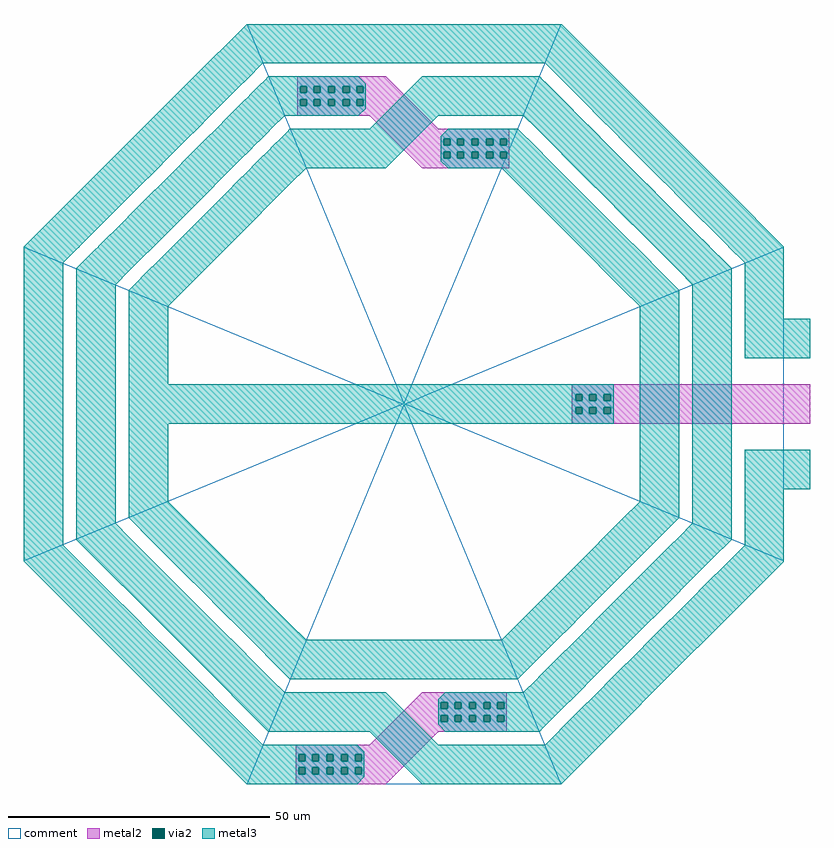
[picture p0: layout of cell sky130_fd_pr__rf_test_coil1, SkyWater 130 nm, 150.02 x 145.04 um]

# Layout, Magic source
magic
tech sky130A
magscale 1 2
<< metal2 >>
rect -4079 12127 -689 12502
rect -4079 11871 -3966 12127
rect -3710 11871 -3442 12127
rect -3186 11871 -2888 12127
rect -2632 11871 -2334 12127
rect -2078 11871 -1810 12127
rect -1554 11871 -689 12127
rect -4079 11633 -689 11871
rect -4079 11377 -3966 11633
rect -3710 11377 -3442 11633
rect -3186 11377 -2888 11633
rect -2632 11377 -2334 11633
rect -2078 11377 -1810 11633
rect -1554 11377 -689 11633
rect -4079 11002 -689 11377
tri -689 11002 811 12502 sw
tri -1311 9000 691 11002 ne
rect 691 10500 811 11002
tri 811 10500 1313 11002 sw
rect 691 10124 4024 10500
rect 691 9868 1511 10124
rect 1767 9868 2035 10124
rect 2291 9868 2589 10124
rect 2845 9868 3143 10124
rect 3399 9868 3667 10124
rect 3923 9868 4024 10124
rect 691 9630 4024 9868
rect 691 9374 1511 9630
rect 1767 9374 2035 9630
rect 2291 9374 2589 9630
rect 2845 9374 3143 9630
rect 3399 9374 3667 9630
rect 3923 9374 4024 9630
rect 691 9000 4024 9374
rect 6408 375 15500 750
rect 6408 119 6552 375
rect 6808 119 7076 375
rect 7332 119 7630 375
rect 7886 119 15500 375
rect 6408 -119 15500 119
rect 6408 -375 6552 -119
rect 6808 -375 7076 -119
rect 7332 -375 7630 -119
rect 7886 -375 15500 -119
rect 6408 -750 15500 -375
tri -1311 -13004 691 -11002 se
rect 691 -11377 3925 -11002
rect 691 -11633 1410 -11377
rect 1666 -11633 1934 -11377
rect 2190 -11633 2488 -11377
rect 2744 -11633 3042 -11377
rect 3298 -11633 3566 -11377
rect 3822 -11633 3925 -11377
rect 691 -11871 3925 -11633
rect 691 -12127 1410 -11871
rect 1666 -12127 1934 -11871
rect 2190 -12127 2488 -11871
rect 2744 -12127 3042 -11871
rect 3298 -12127 3566 -11871
rect 3822 -12127 3925 -11871
rect 691 -12502 3925 -12127
rect 691 -13004 811 -12502
tri 811 -13004 1313 -12502 nw
rect -4123 -13377 -689 -13004
rect -4123 -13633 -4024 -13377
rect -3768 -13633 -3500 -13377
rect -3244 -13633 -2946 -13377
rect -2690 -13633 -2392 -13377
rect -2136 -13633 -1868 -13377
rect -1612 -13633 -689 -13377
rect -4123 -13871 -689 -13633
rect -4123 -14127 -4024 -13871
rect -3768 -14127 -3500 -13871
rect -3244 -14127 -2946 -13871
rect -2690 -14127 -2392 -13871
rect -2136 -14127 -1868 -13871
rect -1612 -14127 -689 -13871
rect -4123 -14504 -689 -14127
tri -689 -14504 811 -13004 nw
<< via2 >>
rect -3966 11871 -3710 12127
rect -3442 11871 -3186 12127
rect -2888 11871 -2632 12127
rect -2334 11871 -2078 12127
rect -1810 11871 -1554 12127
rect -3966 11377 -3710 11633
rect -3442 11377 -3186 11633
rect -2888 11377 -2632 11633
rect -2334 11377 -2078 11633
rect -1810 11377 -1554 11633
rect 1511 9868 1767 10124
rect 2035 9868 2291 10124
rect 2589 9868 2845 10124
rect 3143 9868 3399 10124
rect 3667 9868 3923 10124
rect 1511 9374 1767 9630
rect 2035 9374 2291 9630
rect 2589 9374 2845 9630
rect 3143 9374 3399 9630
rect 3667 9374 3923 9630
rect 6552 119 6808 375
rect 7076 119 7332 375
rect 7630 119 7886 375
rect 6552 -375 6808 -119
rect 7076 -375 7332 -119
rect 7630 -375 7886 -119
rect 1410 -11633 1666 -11377
rect 1934 -11633 2190 -11377
rect 2488 -11633 2744 -11377
rect 3042 -11633 3298 -11377
rect 3566 -11633 3822 -11377
rect 1410 -12127 1666 -11871
rect 1934 -12127 2190 -11871
rect 2488 -12127 2744 -11871
rect 3042 -12127 3298 -11871
rect 3566 -12127 3822 -11871
rect -4024 -13633 -3768 -13377
rect -3500 -13633 -3244 -13377
rect -2946 -13633 -2690 -13377
rect -2392 -13633 -2136 -13377
rect -1868 -13633 -1612 -13377
rect -4024 -14127 -3768 -13871
rect -3500 -14127 -3244 -13871
rect -2946 -14127 -2690 -13871
rect -2392 -14127 -2136 -13871
rect -1868 -14127 -1612 -13871
<< metal3 >>
tri -8131 12382 -6009 14504 se
rect -6009 14497 6009 14504
tri 6009 14497 6016 14504 sw
rect -6009 13004 6016 14497
tri -6009 12382 -5387 13004 nw
tri 5387 12502 5889 13004 ne
rect 5889 12502 6016 13004
tri -5300 12382 -5180 12502 se
rect -5180 12382 -1739 12502
tri -8386 12127 -8131 12382 se
rect -8131 12127 -6264 12382
tri -6264 12127 -6009 12382 nw
tri -5555 12127 -5300 12382 se
rect -5300 12228 -1739 12382
tri -1739 12228 -1465 12502 sw
tri 415 12228 689 12502 se
rect 689 12375 5180 12502
tri 5180 12375 5307 12502 sw
tri 5889 12375 6016 12502 ne
tri 6016 12375 8138 14497 sw
rect 689 12255 5307 12375
tri 5307 12255 5427 12375 sw
tri 6016 12255 6136 12375 ne
rect 6136 12255 8138 12375
rect 689 12228 5427 12255
rect -5300 12127 -1453 12228
tri -8642 11871 -8386 12127 se
rect -8386 11871 -6520 12127
tri -6520 11871 -6264 12127 nw
tri -5811 11871 -5555 12127 se
rect -5555 11871 -3966 12127
rect -3710 11871 -3442 12127
rect -3186 11871 -2888 12127
rect -2632 11871 -2334 12127
rect -2078 11871 -1810 12127
rect -1554 11871 -1453 12127
tri -8880 11633 -8642 11871 se
rect -8642 11673 -6718 11871
tri -6718 11673 -6520 11871 nw
tri -6009 11673 -5811 11871 se
rect -5811 11673 -1453 11871
rect -8642 11633 -6758 11673
tri -6758 11633 -6718 11673 nw
tri -6049 11633 -6009 11673 se
rect -6009 11633 -1453 11673
tri -9136 11377 -8880 11633 se
rect -8880 11377 -7014 11633
tri -7014 11377 -6758 11633 nw
tri -6305 11377 -6049 11633 se
rect -6049 11377 -3966 11633
rect -3710 11377 -3442 11633
rect -3186 11377 -2888 11633
rect -2632 11377 -2334 11633
rect -2078 11377 -1810 11633
rect -1554 11377 -1453 11633
tri -10253 10260 -9136 11377 se
rect -9136 11089 -7302 11377
tri -7302 11089 -7014 11377 nw
tri -6593 11089 -6305 11377 se
rect -6305 11276 -1453 11377
tri -537 11276 415 12228 se
rect 415 11546 5427 12228
tri 5427 11546 6136 12255 sw
tri 6136 11546 6845 12255 ne
rect 6845 11546 8138 12255
rect 415 11276 6136 11546
rect -6305 11089 -1739 11276
rect -9136 10380 -8011 11089
tri -8011 10380 -7302 11089 nw
tri -7302 10380 -6593 11089 se
rect -6593 11002 -1739 11089
tri -1739 11002 -1465 11276 nw
tri -811 11002 -537 11276 se
rect -537 11002 6136 11276
rect -6593 10500 -5060 11002
tri -5060 10500 -4558 11002 nw
tri -1313 10500 -811 11002 se
rect -811 10500 809 11002
tri 809 10500 1311 11002 nw
tri 4558 10500 5060 11002 ne
rect 5060 10837 6136 11002
tri 6136 10837 6845 11546 sw
tri 6845 10837 7554 11546 ne
rect 7554 10837 8138 11546
rect 5060 10500 6845 10837
tri 6845 10500 7182 10837 sw
tri 7554 10500 7891 10837 ne
rect 7891 10500 8138 10837
rect -6593 10380 -5180 10500
tri -5180 10380 -5060 10500 nw
tri -4471 10380 -4351 10500 se
rect -4351 10380 433 10500
rect -9136 10260 -8131 10380
tri -8131 10260 -8011 10380 nw
tri -7422 10260 -7302 10380 se
rect -7302 10260 -5436 10380
tri -10389 10124 -10253 10260 se
rect -10253 10124 -8267 10260
tri -8267 10124 -8131 10260 nw
tri -7558 10124 -7422 10260 se
rect -7422 10124 -5436 10260
tri -5436 10124 -5180 10380 nw
tri -4727 10124 -4471 10380 se
rect -4471 10124 433 10380
tri 433 10124 809 10500 nw
tri 1410 10226 1684 10500 se
rect 1684 10226 4351 10500
rect 1410 10124 4351 10226
tri -10645 9868 -10389 10124 se
rect -10389 9868 -8523 10124
tri -8523 9868 -8267 10124 nw
tri -7814 9868 -7558 10124 se
rect -7558 9868 -5692 10124
tri -5692 9868 -5436 10124 nw
tri -4983 9868 -4727 10124 se
rect -4727 9868 177 10124
tri 177 9868 433 10124 nw
rect 1410 9868 1511 10124
rect 1767 9868 2035 10124
rect 2291 9868 2589 10124
rect 2845 9868 3143 10124
rect 3399 9868 3667 10124
rect 3923 9868 4351 10124
tri -10883 9630 -10645 9868 se
rect -10645 9630 -8761 9868
tri -8761 9630 -8523 9868 nw
tri -8052 9630 -7814 9868 se
rect -7814 9671 -5889 9868
tri -5889 9671 -5692 9868 nw
tri -5180 9671 -4983 9868 se
rect -4983 9671 -61 9868
rect -7814 9630 -5930 9671
tri -5930 9630 -5889 9671 nw
tri -5221 9630 -5180 9671 se
rect -5180 9630 -61 9671
tri -61 9630 177 9868 nw
rect 1410 9791 4351 9868
tri 4351 9791 5060 10500 sw
tri 5060 9791 5769 10500 ne
rect 5769 10253 7182 10500
tri 7182 10253 7429 10500 sw
tri 7891 10253 8138 10500 ne
tri 8138 10253 10260 12375 sw
rect 5769 10133 7429 10253
tri 7429 10133 7549 10253 sw
tri 8138 10133 8258 10253 ne
rect 8258 10133 10260 10253
rect 5769 9791 7549 10133
rect 1410 9630 5060 9791
tri -11139 9374 -10883 9630 se
rect -10883 9551 -8840 9630
tri -8840 9551 -8761 9630 nw
tri -8131 9551 -8052 9630 se
rect -8052 9551 -6186 9630
rect -10883 9374 -9017 9551
tri -9017 9374 -8840 9551 nw
tri -8308 9374 -8131 9551 se
rect -8131 9374 -6186 9551
tri -6186 9374 -5930 9630 nw
tri -5477 9374 -5221 9630 se
rect -5221 9374 -317 9630
tri -317 9374 -61 9630 nw
rect 1410 9374 1511 9630
rect 1767 9374 2035 9630
rect 2291 9374 2589 9630
rect 2845 9374 3143 9630
rect 3399 9374 3667 9630
rect 3923 9374 5060 9630
tri -12375 8138 -11139 9374 se
rect -11139 8967 -9424 9374
tri -9424 8967 -9017 9374 nw
tri -8715 8967 -8308 9374 se
rect -8308 9087 -6473 9374
tri -6473 9087 -6186 9374 nw
tri -5764 9087 -5477 9374 se
rect -5477 9087 -691 9374
rect -8308 8967 -7182 9087
rect -11139 8258 -10133 8967
tri -10133 8258 -9424 8967 nw
tri -9424 8258 -8715 8967 se
rect -8715 8378 -7182 8967
tri -7182 8378 -6473 9087 nw
tri -5851 9000 -5764 9087 se
rect -5764 9000 -691 9087
tri -691 9000 -317 9374 nw
rect 1410 9304 5060 9374
tri 5060 9304 5547 9791 sw
tri 5769 9304 6256 9791 ne
rect 6256 9424 7549 9791
tri 7549 9424 8258 10133 sw
tri 8258 9424 8967 10133 ne
rect 8967 9424 10260 10133
rect 6256 9304 8258 9424
rect 1410 9274 5547 9304
tri 1410 9000 1684 9274 ne
rect 1684 9000 5547 9274
tri -6473 8378 -5851 9000 se
rect -5851 8378 -4351 9000
tri -4351 8378 -3729 9000 nw
tri 3729 8378 4351 9000 ne
rect 4351 8595 5547 9000
tri 5547 8595 6256 9304 sw
tri 6256 8595 6965 9304 ne
rect 6965 8715 8258 9304
tri 8258 8715 8967 9424 sw
tri 8967 8715 9676 9424 ne
rect 9676 8715 10260 9424
rect 6965 8595 8967 8715
rect 4351 8378 6256 8595
rect -8715 8258 -7302 8378
tri -7302 8258 -7182 8378 nw
tri -6593 8258 -6473 8378 se
rect -11139 8138 -10253 8258
tri -10253 8138 -10133 8258 nw
tri -9544 8138 -9424 8258 se
rect -9424 8138 -8011 8258
tri -14497 6016 -12375 8138 se
rect -12375 7429 -10962 8138
tri -10962 7429 -10253 8138 nw
tri -10253 7429 -9544 8138 se
rect -9544 7549 -8011 8138
tri -8011 7549 -7302 8258 nw
tri -7302 7549 -6593 8258 se
rect -6593 7549 -6473 8258
rect -9544 7429 -8595 7549
rect -12375 6845 -11546 7429
tri -11546 6845 -10962 7429 nw
tri -10837 6845 -10253 7429 se
rect -10253 6965 -8595 7429
tri -8595 6965 -8011 7549 nw
tri -7886 6965 -7302 7549 se
rect -7302 6965 -6473 7549
rect -10253 6845 -9304 6965
rect -12375 6136 -12255 6845
tri -12255 6136 -11546 6845 nw
tri -11546 6136 -10837 6845 se
rect -10837 6256 -9304 6845
tri -9304 6256 -8595 6965 nw
tri -8595 6256 -7886 6965 se
rect -7886 6256 -6473 6965
tri -6473 6256 -4351 8378 nw
tri 4351 6473 6256 8378 ne
tri 6256 7886 6965 8595 sw
tri 6965 7886 7674 8595 ne
rect 7674 8138 8967 8595
tri 8967 8138 9544 8715 sw
tri 9676 8138 10253 8715 ne
rect 10253 8138 10260 8715
rect 7674 8131 9544 8138
tri 9544 8131 9551 8138 sw
tri 10253 8131 10260 8138 ne
tri 10260 8131 12382 10253 sw
rect 7674 8011 9551 8131
tri 9551 8011 9671 8131 sw
tri 10260 8011 10380 8131 ne
rect 10380 8011 12382 8131
rect 7674 7886 9671 8011
rect 6256 7182 6965 7886
tri 6965 7182 7669 7886 sw
tri 7674 7182 8378 7886 ne
rect 8378 7302 9671 7886
tri 9671 7302 10380 8011 sw
tri 10380 7302 11089 8011 ne
rect 11089 7302 12382 8011
rect 8378 7182 10380 7302
rect 6256 6473 7669 7182
tri 7669 6473 8378 7182 sw
tri 8378 6473 9087 7182 ne
rect 9087 6593 10380 7182
tri 10380 6593 11089 7302 sw
tri 11089 6593 11798 7302 ne
rect 11798 6593 12382 7302
rect 9087 6473 11089 6593
tri 6256 6256 6473 6473 ne
rect 6473 6256 8378 6473
rect -10837 6136 -9424 6256
tri -9424 6136 -9304 6256 nw
tri -8715 6136 -8595 6256 se
rect -8595 6136 -8378 6256
tri -12375 6016 -12255 6136 nw
tri -11666 6016 -11546 6136 se
rect -11546 6016 -10133 6136
tri -14504 6009 -14497 6016 se
rect -14497 6009 -12382 6016
tri -12382 6009 -12375 6016 nw
tri -11673 6009 -11666 6016 se
rect -11666 6009 -10133 6016
rect -14504 5889 -12502 6009
tri -12502 5889 -12382 6009 nw
tri -11793 5889 -11673 6009 se
rect -11673 5889 -10133 6009
rect -14504 -5889 -13004 5889
tri -13004 5387 -12502 5889 nw
tri -12295 5387 -11793 5889 se
rect -11793 5427 -10133 5889
tri -10133 5427 -9424 6136 nw
tri -9424 5427 -8715 6136 se
rect -8715 5427 -8378 6136
rect -11793 5387 -10500 5427
tri -12502 5180 -12295 5387 se
rect -12295 5180 -10500 5387
rect -12502 5060 -10500 5180
tri -10500 5060 -10133 5427 nw
tri -9791 5060 -9424 5427 se
rect -9424 5060 -8378 5427
rect -12502 -5060 -11002 5060
tri -11002 4558 -10500 5060 nw
tri -10293 4558 -9791 5060 se
rect -9791 4558 -8378 5060
tri -10500 4351 -10293 4558 se
rect -10293 4351 -8378 4558
tri -8378 4351 -6473 6256 nw
tri 6473 4351 8378 6256 ne
tri 8378 5764 9087 6473 sw
tri 9087 5764 9796 6473 ne
rect 9796 6016 11089 6473
tri 11089 6016 11666 6593 sw
tri 11798 6016 12375 6593 ne
rect 12375 6016 12382 6593
rect 9796 6009 11666 6016
tri 11666 6009 11673 6016 sw
tri 12375 6009 12382 6016 ne
tri 12382 6009 14504 8131 sw
rect 9796 5764 11673 6009
rect 8378 5060 9087 5764
tri 9087 5060 9791 5764 sw
tri 9796 5060 10500 5764 ne
rect 10500 5387 11673 5764
tri 11673 5387 12295 6009 sw
tri 12382 5387 13004 6009 ne
rect 10500 5180 12295 5387
tri 12295 5180 12502 5387 sw
rect 10500 5060 12502 5180
rect 8378 4351 9791 5060
tri 9791 4351 10500 5060 sw
tri 10500 4558 11002 5060 ne
rect -10500 750 -9000 4351
tri -9000 3729 -8378 4351 nw
tri 8378 3729 9000 4351 ne
rect -10500 375 8000 750
rect -10500 119 6552 375
rect 6808 119 7076 375
rect 7332 119 7630 375
rect 7886 119 8000 375
rect -10500 -119 8000 119
rect -10500 -375 6552 -119
rect 6808 -375 7076 -119
rect 7332 -375 7630 -119
rect 7886 -375 8000 -119
rect -10500 -750 8000 -375
rect -10500 -4351 -9000 -750
tri -9000 -4351 -8378 -3729 sw
tri 8378 -4351 9000 -3729 se
rect 9000 -4351 10500 4351
tri -10500 -4558 -10293 -4351 ne
rect -10293 -4558 -8378 -4351
tri -11002 -5060 -10500 -4558 sw
tri -10293 -5060 -9791 -4558 ne
rect -9791 -5060 -8378 -4558
rect -12502 -5180 -10500 -5060
tri -12502 -5387 -12295 -5180 ne
rect -12295 -5387 -10500 -5180
tri -13004 -5889 -12502 -5387 sw
tri -12295 -5889 -11793 -5387 ne
rect -11793 -5764 -10500 -5387
tri -10500 -5764 -9796 -5060 sw
tri -9791 -5764 -9087 -5060 ne
rect -9087 -5764 -8378 -5060
rect -11793 -5889 -9796 -5764
rect -14504 -6009 -12502 -5889
tri -14504 -7302 -13211 -6009 ne
rect -13211 -6593 -12502 -6009
tri -12502 -6593 -11798 -5889 sw
tri -11793 -6593 -11089 -5889 ne
rect -11089 -6473 -9796 -5889
tri -9796 -6473 -9087 -5764 sw
tri -9087 -6473 -8378 -5764 ne
tri -8378 -6473 -6256 -4351 sw
tri 6473 -6256 8378 -4351 se
rect 8378 -5060 9791 -4351
tri 9791 -5060 10500 -4351 nw
tri 10500 -5060 11002 -4558 se
rect 11002 -5060 12502 5060
rect 13004 3250 14504 6009
rect 13004 1750 15500 3250
rect 8378 -5427 9424 -5060
tri 9424 -5427 9791 -5060 nw
tri 10133 -5427 10500 -5060 se
rect 10500 -5180 12502 -5060
rect 10500 -5427 11793 -5180
rect 8378 -6136 8715 -5427
tri 8715 -6136 9424 -5427 nw
tri 9424 -6136 10133 -5427 se
rect 10133 -5889 11793 -5427
tri 11793 -5889 12502 -5180 nw
rect 13004 -3250 15500 -1750
tri 12502 -5889 13004 -5387 se
rect 13004 -5889 14504 -3250
rect 10133 -6136 11546 -5889
tri 11546 -6136 11793 -5889 nw
tri 12255 -6136 12502 -5889 se
rect 12502 -6009 14504 -5889
rect 12502 -6016 14497 -6009
tri 14497 -6016 14504 -6009 nw
rect 12502 -6136 14377 -6016
tri 14377 -6136 14497 -6016 nw
rect 8378 -6256 8595 -6136
tri 8595 -6256 8715 -6136 nw
tri 9304 -6256 9424 -6136 se
rect 9424 -6256 10837 -6136
tri 6256 -6473 6473 -6256 se
rect 6473 -6473 7886 -6256
rect -11089 -6593 -9087 -6473
rect -13211 -7302 -11798 -6593
tri -11798 -7302 -11089 -6593 sw
tri -11089 -7302 -10380 -6593 ne
rect -10380 -7182 -9087 -6593
tri -9087 -7182 -8378 -6473 sw
tri -8378 -7182 -7669 -6473 ne
rect -7669 -7182 -6256 -6473
rect -10380 -7302 -8378 -7182
tri -13211 -8131 -12382 -7302 ne
rect -12382 -8011 -11089 -7302
tri -11089 -8011 -10380 -7302 sw
tri -10380 -8011 -9671 -7302 ne
rect -9671 -7886 -8378 -7302
tri -8378 -7886 -7674 -7182 sw
tri -7669 -7886 -6965 -7182 ne
rect -6965 -7886 -6256 -7182
rect -9671 -8011 -7674 -7886
rect -12382 -8131 -10380 -8011
tri -12382 -9424 -11089 -8131 ne
rect -11089 -8715 -10380 -8131
tri -10380 -8715 -9676 -8011 sw
tri -9671 -8715 -8967 -8011 ne
rect -8967 -8595 -7674 -8011
tri -7674 -8595 -6965 -7886 sw
tri -6965 -8595 -6256 -7886 ne
tri -6256 -8378 -4351 -6473 sw
tri 4351 -8378 6256 -6473 se
rect 6256 -6965 7886 -6473
tri 7886 -6965 8595 -6256 nw
tri 8595 -6965 9304 -6256 se
rect 9304 -6845 10837 -6256
tri 10837 -6845 11546 -6136 nw
tri 11546 -6845 12255 -6136 se
rect 9304 -6965 10253 -6845
rect 6256 -7549 7302 -6965
tri 7302 -7549 7886 -6965 nw
tri 8011 -7549 8595 -6965 se
rect 8595 -7429 10253 -6965
tri 10253 -7429 10837 -6845 nw
tri 10962 -7429 11546 -6845 se
rect 11546 -7429 12255 -6845
rect 8595 -7549 9544 -7429
rect 6256 -8258 6593 -7549
tri 6593 -8258 7302 -7549 nw
tri 7302 -8258 8011 -7549 se
rect 8011 -8138 9544 -7549
tri 9544 -8138 10253 -7429 nw
tri 10253 -8138 10962 -7429 se
rect 10962 -8138 12255 -7429
rect 8011 -8258 9424 -8138
tri 9424 -8258 9544 -8138 nw
tri 10133 -8258 10253 -8138 se
rect 10253 -8258 12255 -8138
tri 12255 -8258 14377 -6136 nw
rect 6256 -8378 6473 -8258
tri 6473 -8378 6593 -8258 nw
tri 7182 -8378 7302 -8258 se
rect 7302 -8378 8715 -8258
rect -6256 -8595 -4351 -8378
rect -8967 -8715 -6965 -8595
rect -11089 -9424 -9676 -8715
tri -9676 -9424 -8967 -8715 sw
tri -8967 -9424 -8258 -8715 ne
rect -8258 -9304 -6965 -8715
tri -6965 -9304 -6256 -8595 sw
tri -6256 -9304 -5547 -8595 ne
rect -5547 -9000 -4351 -8595
tri -4351 -9000 -3729 -8378 sw
tri 3729 -9000 4351 -8378 se
rect 4351 -9000 5764 -8378
rect -5547 -9087 5764 -9000
tri 5764 -9087 6473 -8378 nw
tri 6473 -9087 7182 -8378 se
rect 7182 -8967 8715 -8378
tri 8715 -8967 9424 -8258 nw
tri 9424 -8967 10133 -8258 se
rect 7182 -9087 8131 -8967
rect -5547 -9304 5180 -9087
rect -8258 -9424 -6256 -9304
tri -11089 -10253 -10260 -9424 ne
rect -10260 -10133 -8967 -9424
tri -8967 -10133 -8258 -9424 sw
tri -8258 -10133 -7549 -9424 ne
rect -7549 -9791 -6256 -9424
tri -6256 -9791 -5769 -9304 sw
tri -5547 -9791 -5060 -9304 ne
rect -5060 -9671 5180 -9304
tri 5180 -9671 5764 -9087 nw
tri 5889 -9671 6473 -9087 se
rect 6473 -9551 8131 -9087
tri 8131 -9551 8715 -8967 nw
tri 8840 -9551 9424 -8967 se
rect 9424 -9551 10133 -8967
rect 6473 -9671 7422 -9551
rect -5060 -9791 4471 -9671
rect -7549 -10133 -5769 -9791
rect -10260 -10253 -8258 -10133
tri -10260 -11377 -9136 -10253 ne
rect -9136 -10837 -8258 -10253
tri -8258 -10837 -7554 -10133 sw
tri -7549 -10837 -6845 -10133 ne
rect -6845 -10500 -5769 -10133
tri -5769 -10500 -5060 -9791 sw
tri -5060 -10500 -4351 -9791 ne
rect -4351 -10380 4471 -9791
tri 4471 -10380 5180 -9671 nw
tri 5180 -10380 5889 -9671 se
rect 5889 -10260 7422 -9671
tri 7422 -10260 8131 -9551 nw
tri 8131 -10260 8840 -9551 se
rect 8840 -10260 10133 -9551
rect 5889 -10380 7302 -10260
tri 7302 -10380 7422 -10260 nw
tri 8011 -10380 8131 -10260 se
rect 8131 -10380 10133 -10260
tri 10133 -10380 12255 -8258 nw
rect -4351 -10500 4351 -10380
tri 4351 -10500 4471 -10380 nw
tri 5060 -10500 5180 -10380 se
rect 5180 -10500 6593 -10380
rect -6845 -10837 -5060 -10500
rect -9136 -11377 -7554 -10837
tri -7554 -11377 -7014 -10837 sw
tri -6845 -11377 -6305 -10837 ne
rect -6305 -11004 -5060 -10837
tri -5060 -11004 -4556 -10500 sw
tri 4558 -11002 5060 -10500 se
rect 5060 -11002 6593 -10500
tri 1583 -11004 1585 -11002 se
rect 1585 -11004 6593 -11002
rect -6305 -11377 -689 -11004
tri -689 -11377 -316 -11004 sw
tri 1311 -11276 1583 -11004 se
rect 1583 -11089 6593 -11004
tri 6593 -11089 7302 -10380 nw
tri 7302 -11089 8011 -10380 se
rect 1583 -11276 6009 -11089
rect 1311 -11377 6009 -11276
tri -9136 -11546 -8967 -11377 ne
rect -8967 -11546 -7014 -11377
tri -7014 -11546 -6845 -11377 sw
tri -6305 -11546 -6136 -11377 ne
rect -6136 -11546 -316 -11377
tri -8967 -11633 -8880 -11546 ne
rect -8880 -11633 -6845 -11546
tri -6845 -11633 -6758 -11546 sw
tri -6136 -11633 -6049 -11546 ne
rect -6049 -11633 -316 -11546
tri -316 -11633 -60 -11377 sw
rect 1311 -11633 1410 -11377
rect 1666 -11633 1934 -11377
rect 2190 -11633 2488 -11377
rect 2744 -11633 3042 -11377
rect 3298 -11633 3566 -11377
rect 3822 -11633 6009 -11377
tri -8880 -11871 -8642 -11633 ne
rect -8642 -11871 -6758 -11633
tri -6758 -11871 -6520 -11633 sw
tri -6049 -11871 -5811 -11633 ne
rect -5811 -11871 -60 -11633
tri -60 -11871 178 -11633 sw
rect 1311 -11673 6009 -11633
tri 6009 -11673 6593 -11089 nw
tri 6718 -11673 7302 -11089 se
rect 7302 -11673 8011 -11089
rect 1311 -11871 5300 -11673
tri -8642 -12127 -8386 -11871 ne
rect -8386 -12127 -6520 -11871
tri -6520 -12127 -6264 -11871 sw
tri -5811 -12127 -5555 -11871 ne
rect -5555 -12127 178 -11871
tri 178 -12127 434 -11871 sw
rect 1311 -12127 1410 -11871
rect 1666 -12127 1934 -11871
rect 2190 -12127 2488 -11871
rect 2744 -12127 3042 -11871
rect 3298 -12127 3566 -11871
rect 3822 -12127 5300 -11871
tri -8386 -12375 -8138 -12127 ne
rect -8138 -12255 -6264 -12127
tri -6264 -12255 -6136 -12127 sw
tri -5555 -12255 -5427 -12127 ne
rect -5427 -12255 434 -12127
rect -8138 -12375 -6136 -12255
tri -8138 -12502 -8011 -12375 ne
rect -8011 -12502 -6136 -12375
tri -6136 -12502 -5889 -12255 sw
tri -5427 -12502 -5180 -12255 ne
rect -5180 -12502 434 -12255
tri 434 -12502 809 -12127 sw
rect 1311 -12228 5300 -12127
tri 1311 -12502 1585 -12228 ne
rect 1585 -12382 5300 -12228
tri 5300 -12382 6009 -11673 nw
tri 6009 -12382 6718 -11673 se
rect 6718 -12382 8011 -11673
rect 1585 -12502 5180 -12382
tri 5180 -12502 5300 -12382 nw
tri 5889 -12502 6009 -12382 se
rect 6009 -12502 8011 -12382
tri 8011 -12502 10133 -10380 nw
tri -8011 -13377 -7136 -12502 ne
rect -7136 -13004 -5889 -12502
tri -5889 -13004 -5387 -12502 sw
tri -1313 -13004 -811 -12502 ne
rect -811 -13004 809 -12502
tri 809 -13004 1311 -12502 sw
tri 5387 -13004 5889 -12502 se
rect 5889 -13004 6009 -12502
rect -7136 -13278 -1783 -13004
tri -1783 -13278 -1509 -13004 sw
rect -7136 -13377 -1509 -13278
tri -7136 -13633 -6880 -13377 ne
rect -6880 -13633 -4024 -13377
rect -3768 -13633 -3500 -13377
rect -3244 -13633 -2946 -13377
rect -2690 -13633 -2392 -13377
rect -2136 -13633 -1868 -13377
rect -1612 -13633 -1509 -13377
tri -6880 -13871 -6642 -13633 ne
rect -6642 -13871 -1509 -13633
tri -6642 -14127 -6386 -13871 ne
rect -6386 -14127 -4024 -13871
rect -3768 -14127 -3500 -13871
rect -3244 -14127 -2946 -13871
rect -2690 -14127 -2392 -13871
rect -2136 -14127 -1868 -13871
rect -1612 -14127 -1509 -13871
tri -6386 -14504 -6009 -14127 ne
rect -6009 -14230 -1509 -14127
rect -6009 -14504 -1783 -14230
tri -1783 -14504 -1509 -14230 nw
tri -811 -14504 689 -13004 ne
rect 689 -14504 6009 -13004
tri 6009 -14504 8011 -12502 nw
<< comment >>
tri -6009 6009 -2489 14504 ne
rect -2489 6009 2489 14504
tri 2489 6009 6009 14504 nw
tri -14504 2489 -6009 6009 sw
tri -2489 2489 -1031 6009 ne
rect -1031 2489 1031 6009
tri 1031 2490 2489 6009 nw
tri 6009 2490 14504 6009 se
rect -14504 427 -6009 2489
tri -6009 427 -1031 2489 sw
tri -1031 428 -177 2489 ne
rect -177 427 177 2489
tri 177 427 1031 2489 nw
tri 1031 427 6009 2489 se
rect 6009 427 14504 2490
rect -14504 73 -1031 427
tri -1031 73 -177 427 sw
tri -177 74 -31 427 ne
rect -31 73 30 427
tri 30 73 177 427 nw
tri 177 73 1031 427 se
rect 1031 73 14504 427
rect -14504 13 -177 73
tri -177 13 -31 73 sw
tri -31 13 -5 73 ne
rect -5 13 5 73
tri 5 13 30 73 nw
tri 30 13 177 73 se
rect 177 13 14504 73
rect -14504 2 -31 13
tri -31 2 -5 13 sw
tri -5 2 -1 13 ne
rect -1 2 1 13
tri 1 2 5 13 nw
tri 6 2 30 13 se
rect 30 2 14504 13
rect -14504 -2 -5 2
tri -5 0 -1 2 sw
tri -1 0 0 2 ne
tri 0 0 1 2 nw
tri 1 0 5 2 se
tri -5 -2 -1 0 nw
tri -1 -2 0 0 se
tri 0 -2 1 0 sw
tri 1 -2 5 0 ne
rect 5 -2 14504 2
rect -14504 -13 -30 -2
tri -30 -13 -5 -2 nw
tri -5 -13 -1 -2 se
rect -1 -12 1 -2
tri 1 -12 5 -2 sw
tri 5 -12 30 -2 ne
rect 30 -12 14504 -2
rect -1 -13 5 -12
rect -14504 -73 -177 -13
tri -177 -73 -30 -13 nw
tri -30 -73 -5 -13 se
rect -5 -73 5 -13
tri 5 -73 30 -12 sw
tri 30 -73 176 -12 ne
rect 176 -73 14504 -12
rect -14504 -427 -1031 -73
tri -1031 -427 -177 -73 nw
tri -177 -427 -30 -73 se
rect -30 -427 30 -73
tri 30 -427 177 -73 sw
tri 177 -427 1030 -73 ne
rect 1030 -427 14504 -73
rect -14504 -2489 -6009 -427
tri -6009 -2489 -1031 -427 nw
tri -1031 -2489 -177 -427 se
rect -177 -2489 177 -427
tri 177 -2489 1031 -427 sw
tri 1031 -2489 6008 -427 ne
rect 6008 -2489 14504 -427
tri -14504 -6009 -6009 -2489 nw
tri -2489 -6009 -1031 -2490 se
rect -1031 -6009 1031 -2489
tri 1031 -6009 2489 -2489 sw
tri 6009 -6009 14504 -2489 ne
tri -6009 -14504 -2489 -6009 se
rect -2489 -14504 2489 -6009
tri 2489 -14504 6009 -6009 sw
<< properties >>
string GDS_END 10324764
string GDS_FILE $PDKPATH/libs.ref/sky130_fd_pr/gds/sky130_fd_pr.gds
string GDS_START 10318056
string gencell sky130_fd_pr__rf_test_coil1
string library sky130
string parameter m=1
string path 343.850 -150.225 343.850 -43.750 
<< end >>
